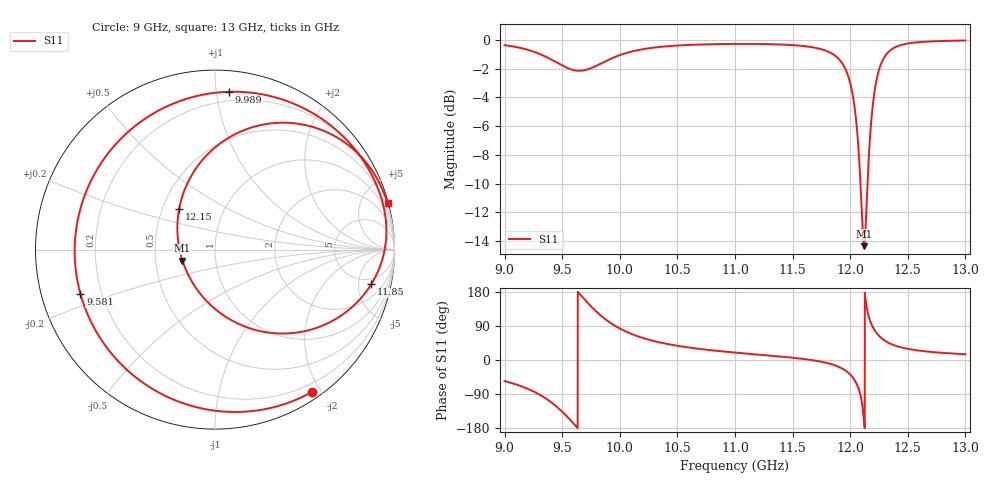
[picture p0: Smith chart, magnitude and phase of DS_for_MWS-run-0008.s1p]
! TOUCHSTONE file generated by CST DESIGN STUDIO
! Date and time: Tue Feb  4 17:29:51 2025
! Project name: C:\Work\MatlabApps\UnitCellOptimizationMatlab\CST\unitcell.cst
! Tree item: Tasks\Sweep1\SPara1\S-Parameters
! Header version: 2024
! Port assignment regex: !\s*Touchstone port\s*([0-9]+)\s*=\s*(CST MWS port|CST DES external port|CST DES block port)\s*(.+)\s* \(\"(.*)\"\)(\s*mode\s*([0-9]+))?.*
! Touchstone port assignment:
! Touchstone port 1 = CST DES external port 1 ("")
# GHz S MA R 50
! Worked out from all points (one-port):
!   4001 points, 9 GHz to 13 GHz, reference 50 ohm
!   lowest |S11| = -14.4 dB at 12.12 GHz (marker M1), VSWR 1.47, Z = 34.4 - j4.4 ohm
!   |S11| at or under -10 dB: 12.08936 GHz to 12.1501 GHz (60.74 MHz wide, 0.501 % of centre)
!   S11 on the Smith chart (normalised r, x): 9 GHz: 0.09, -1.89; 9.581 GHz: 0.12, -0.16; 9.989 GHz: 0.14, +1.08; 11.85 GHz: 3.79, -7.13; 12.15 GHz: 0.61, +0.31; 13 GHz: 0.09, +7.47
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9  0.9595 -55.6
9.158  0.9349 -70.7
9.309  0.8928 -92.3
9.409  0.8536 -112.6
9.5  0.8154 -136.4
9.581  0.7893 -161.7
9.681  0.7834 164.2
9.796  0.8134 127.9
9.886  0.8477 105.0
9.989  0.8831 84.9
10  0.8863 83.1
10.218  0.9319 56.5
10.5  0.9571 37.6
11  0.9697 19.6
11.5  0.9603 6.1
11.853  0.8914 -12.5
11.937  0.822 -23.6
12  0.7081 -38.4
12.066  0.451 -70.0
12.092  0.3007 -96.7
12.12  0.1913 -161.2
12.148  0.3028 131.2
12.193  0.5781 88.9
12.242  0.7669 66.4
12.29  0.8628 53.2
12.344  0.918 43.7
12.5  0.9729 29.5
13  0.9968 15.3
